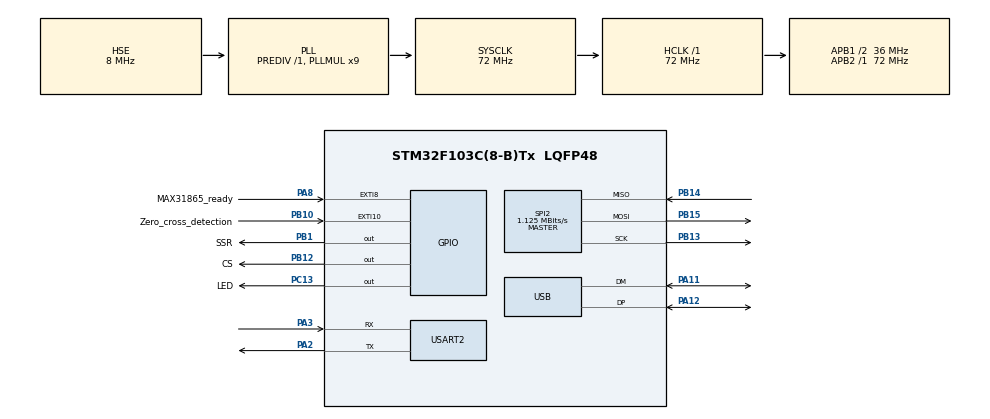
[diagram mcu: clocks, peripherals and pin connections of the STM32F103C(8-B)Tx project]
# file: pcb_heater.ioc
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Mcu.Family=STM32F1
Mcu.Name=STM32F103C(8-B)Tx
Mcu.Package=LQFP48
NVIC.PriorityGroup=NVIC_PRIORITYGROUP_4
NVIC.TIM4_IRQn=true\:0\:0\:false\:false\:true\:true\:true\:true
NVIC.USB_LP_CAN1_RX0_IRQn=true\:0\:0\:false\:false\:true\:false\:true\:true
PA11.Mode=Device
PA11.Signal=USB_DM
PA12.Mode=Device
PA12.Signal=USB_DP
PA13.Mode=Serial_Wire
PA13.Signal=SYS_JTMS-SWDIO
PA14.Mode=Serial_Wire
PA14.Signal=SYS_JTCK-SWCLK
PA2.Mode=Asynchronous
PA2.Signal=USART2_TX
PA3.Mode=Asynchronous
PA3.Signal=USART2_RX
PA8.GPIO_Label=MAX31865_ready
PA8.GPIO_ModeDefaultEXTI=GPIO_MODE_IT_FALLING
PA8.GPIO_PuPd=GPIO_PULLUP
PA8.Signal=GPXTI8
PB1.GPIO_Label=SSR
PB1.Signal=GPIO_Output
PB10.GPIO_Label=Zero_cross_detection
PB10.Signal=GPXTI10
PB12.GPIO_Label=CS
PB12.PinState=GPIO_PIN_SET
PB12.Signal=GPIO_Output
PB13.Mode=Full_Duplex_Master
PB13.Signal=SPI2_SCK
PB14.Mode=Full_Duplex_Master
PB14.Signal=SPI2_MISO
PB15.Mode=Full_Duplex_Master
PB15.Signal=SPI2_MOSI
PC13-TAMPER-RTC.GPIO_Label=LED
PC13-TAMPER-RTC.Signal=GPIO_Output
PC14-OSC32_IN.Mode=LSE-External-Oscillator
PC14-OSC32_IN.Signal=RCC_OSC32_IN
PC15-OSC32_OUT.Mode=LSE-External-Oscillator
PC15-OSC32_OUT.Signal=RCC_OSC32_OUT
PD0-OSC_IN.Mode=HSE-External-Oscillator
PD0-OSC_IN.Signal=RCC_OSC_IN
PD1-OSC_OUT.Mode=HSE-External-Oscillator
PD1-OSC_OUT.Signal=RCC_OSC_OUT
ProjectManager.HeapSize=0x200
ProjectManager.StackSize=0x400
ProjectManager.TargetToolchain=STM32CubeIDE
RCC.AHBFreq_Value=72000000
RCC.APB1CLKDivider=RCC_HCLK_DIV2
RCC.APB1Freq_Value=36000000
RCC.APB1TimFreq_Value=72000000
RCC.APB2Freq_Value=72000000
RCC.APB2TimFreq_Value=72000000
RCC.HCLKFreq_Value=72000000
RCC.PLLMUL=RCC_PLL_MUL9
RCC.PLLSourceVirtual=RCC_PLLSOURCE_HSE
RCC.SYSCLKFreq_VALUE=72000000
RCC.SYSCLKSource=RCC_SYSCLKSOURCE_PLLCLK
RCC.USBFreq_Value=48000000
RCC.USBPrescaler=RCC_USBCLKSOURCE_PLL_DIV1_5
SPI2.BaudRatePrescaler=SPI_BAUDRATEPRESCALER_32
SPI2.CLKPhase=SPI_PHASE_2EDGE
SPI2.CalculateBaudRate=1.125 MBits/s
SPI2.Direction=SPI_DIRECTION_2LINES
SPI2.Mode=SPI_MODE_MASTER
SPI2.VirtualType=VM_MASTER
TIM4.AutoReloadPreload=TIM_AUTORELOAD_PRELOAD_ENABLE
TIM4.Period=999
TIM4.Prescaler=71
USART2.VirtualMode=VM_ASYNC
USB_DEVICE.CLASS_NAME_FS=CDC
USB_DEVICE.PRODUCT_STRING_CDC_FS=PCB_Heater
USB_DEVICE.VirtualMode=Cdc
USB_DEVICE.VirtualModeFS=Cdc_FS
VP_TIM4_VS_ClockSourceINT.Mode=Internal
VP_USB_DEVICE_VS_USB_DEVICE_CDC_FS.Mode=CDC_FS
board=custom

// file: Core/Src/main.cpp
/* USER CODE BEGIN Header */
/**
  ******************************************************************************
  * @file           : main.c
  * @brief          : Main program body
  ******************************************************************************
  * @attention
  *
  * Copyright (c) 2022 STMicroelectronics.
  * All rights reserved.
  *
  * This software is licensed under terms that can be found in the LICENSE file
  * in the root directory of this software component.
  * If no LICENSE file comes with this software, it is provided AS-IS.
  *
  ******************************************************************************
  */
/* USER CODE END Header */
#include "main.h"
#include "spi.h"
#include "tim.h"
#include "usart.h"
#include "usb_device.h"
#include "gpio.h"

/* USER CODE BEGIN Includes */
//#include "spi.h"
#include "max31865.hpp"
/* USER CODE END Includes */

/* USER CODE BEGIN PV */
max31865 rtd = max31865(&hspi2, CS_GPIO_Port, CS_Pin);
/* USER CODE END PV */

void SystemClock_Config(void);

int main(void)
{

  /* MCU Configuration--------------------------------------------------------*/

  /* Reset of all peripherals, Initializes the Flash interface and the Systick. */
  HAL_Init();

  /* Configure the system clock */
  SystemClock_Config();

  /* Initialize all configured peripherals */
  MX_GPIO_Init();
  MX_USART2_UART_Init();
  MX_USB_DEVICE_Init();
  MX_TIM4_Init();
  MX_SPI2_Init();
  /* USER CODE BEGIN 2 */

  // init max31865
  uint8_t dummy = 0;
  HAL_SPI_Transmit(&hspi2, &dummy, 1, 100);
  max31865_config_t config = MAX31865_DEFAULT_CONFIG;
  config.auto_conversion_mode = true;
  config.v_bias = true;
  config.fifty_hz_filter = true;
  rtd.set_config(config);
  rtd.set_resistors(4300, PT1000);
  HAL_Delay(10);
  /* for debugging
  for(int i = 0; i < 8; ++i)
  {
	  uint8_t regval = rtd.read_reg(i);
  }
  */
  // uint8_t regval = rtd.read_reg(MAX31865_CONFIG_REG_READ_ADDR);
  // regval = rtd.read_reg(MAX31865_FAULT_STATUS_REG_READ_ADDR);
  // regval = rtd.read_reg(MAX31865_RTD_LSB_REG_READ_ADDR);
  /* USER CODE END 2 */

  /* Infinite loop */
  /* USER CODE BEGIN WHILE */
  while (1)
  {
	  if(HAL_GPIO_ReadPin(MAX31865_ready_GPIO_Port, MAX31865_ready_Pin) == GPIO_PIN_RESET)
	  {
		  HAL_GPIO_WritePin(LED_GPIO_Port, LED_Pin, GPIO_PIN_SET);
		  float temp = rtd.get_temp();
	  }
	  else
	  {
		  HAL_GPIO_WritePin(LED_GPIO_Port, LED_Pin, GPIO_PIN_RESET);

	  }
    /* USER CODE END WHILE */

  }
}

void SystemClock_Config(void)
{
  RCC_OscInitTypeDef RCC_OscInitStruct = {0};
  RCC_ClkInitTypeDef RCC_ClkInitStruct = {0};
  RCC_PeriphCLKInitTypeDef PeriphClkInit = {0};

  /** Initializes the RCC Oscillators according to the specified parameters
  * in the RCC_OscInitTypeDef structure.
  */
  RCC_OscInitStruct.OscillatorType = RCC_OSCILLATORTYPE_HSE;
  RCC_OscInitStruct.HSEState = RCC_HSE_ON;
  RCC_OscInitStruct.HSEPredivValue = RCC_HSE_PREDIV_DIV1;
  RCC_OscInitStruct.HSIState = RCC_HSI_ON;
  RCC_OscInitStruct.PLL.PLLState = RCC_PLL_ON;
  RCC_OscInitStruct.PLL.PLLSource = RCC_PLLSOURCE_HSE;
  RCC_OscInitStruct.PLL.PLLMUL = RCC_PLL_MUL9;
  if (HAL_RCC_OscConfig(&RCC_OscInitStruct) != HAL_OK)
  {
    Error_Handler();
  }

  /** Initializes the CPU, AHB and APB buses clocks
  */
  RCC_ClkInitStruct.ClockType = RCC_CLOCKTYPE_HCLK|RCC_CLOCKTYPE_SYSCLK
                              |RCC_CLOCKTYPE_PCLK1|RCC_CLOCKTYPE_PCLK2;
  RCC_ClkInitStruct.SYSCLKSource = RCC_SYSCLKSOURCE_PLLCLK;
  RCC_ClkInitStruct.AHBCLKDivider = RCC_SYSCLK_DIV1;
  RCC_ClkInitStruct.APB1CLKDivider = RCC_HCLK_DIV2;
  RCC_ClkInitStruct.APB2CLKDivider = RCC_HCLK_DIV1;

  if (HAL_RCC_ClockConfig(&RCC_ClkInitStruct, FLASH_LATENCY_2) != HAL_OK)
  {
    Error_Handler();
  }
  PeriphClkInit.PeriphClockSelection = RCC_PERIPHCLK_USB;
  PeriphClkInit.UsbClockSelection = RCC_USBCLKSOURCE_PLL_DIV1_5;
  if (HAL_RCCEx_PeriphCLKConfig(&PeriphClkInit) != HAL_OK)
  {
    Error_Handler();
  }
}

void Error_Handler(void)
{
  __disable_irq();
  while (1)
  {
  }
}
